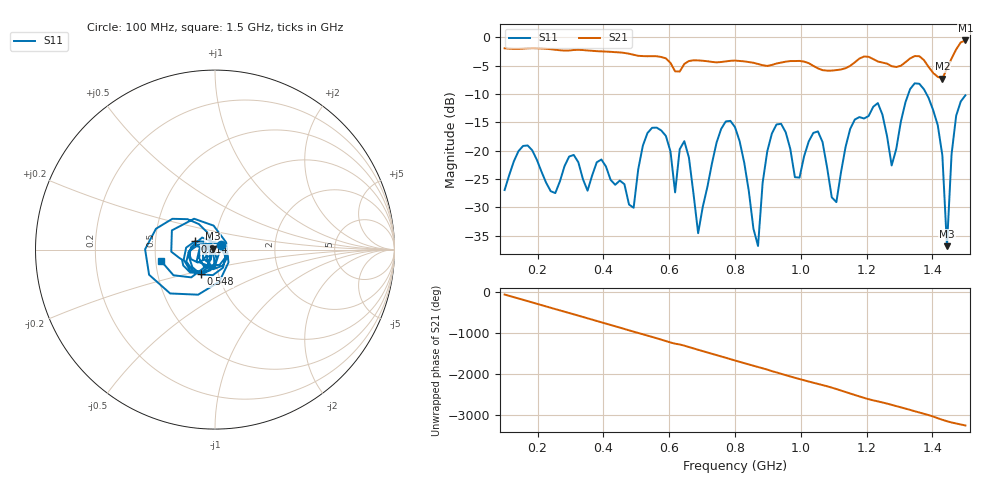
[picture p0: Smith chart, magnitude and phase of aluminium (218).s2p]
! NanoVNA-App
! Date: 2025-09-25 14:56:58
! Start: 100MHz Stop: 1,5GHz Points: 101
! S-Parameter data: F S11 S21 S12 S22
# Hz S RI R 50
!  Frequency  S11_Real  S11_Imag  S21_Real  S21_Imag  S12_Real  S12_Imag  S22_Real  S22_Imag
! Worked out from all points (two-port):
!   101 points, 100 MHz to 1.5 GHz, reference 50 ohm
!   highest |S21| = -0.54 dB at 1.5 GHz (marker M1); lowest = -7.3 dB at 1.43 GHz (marker M2)
!   |S21| within 3 dB of the highest: start of sweep to 580.4 MHz; 1.46 GHz to end of sweep (the widest 2 of 4)
!   lowest |S11| = -36.9 dB at 1.444 GHz (marker M3), VSWR 1.03, Z = 48.7 + j0.481 ohm
!   |S11| at or under -10 dB: start of sweep to 1.327 GHz; 1.382 GHz to end of sweep
!   S12 and S22 are empty: the file has one direction only
!   S11 on the Smith chart (normalised r, x): 100 MHz: 1.07, +0.06; 548 MHz: 0.82, -0.23; 814 MHz: 0.79, +0.07; 1.5 GHz: 0.53, -0.07
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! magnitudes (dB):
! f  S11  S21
! 100 MHz  -27.0  -1.9
! 338 MHz  -25.0  -2.2
! 492 MHz  -30.1  -3.1
! 548 MHz  -16.0  -3.3
! 576 MHz  -16.4  -3.5
! 618 MHz  -27.4  -6.0
! 646 MHz  -18.3  -4.7
! 688 MHz  -34.6  -4.1
! 800 MHz  -15.9  -4.1
! 814 MHz  -18.3  -4.2
! 870 MHz  -36.9  -4.7
! 912 MHz  -17.0  -4.9
! 996 MHz  -24.8  -4.2
! 1.038 GHz  -16.9  -5.0
! 1.108 GHz  -29.1  -5.8
! 1.234 GHz  -11.6  -4.3
! 1.276 GHz  -22.6  -5.1
! 1.346 GHz  -8.1  -3.3
! 1.43 GHz  -20.8  -7.3
! 1.444 GHz  -36.9  -5.5
! 1.472 GHz  -13.8  -2.1
! 1.5 GHz  -10.2  -0.5
